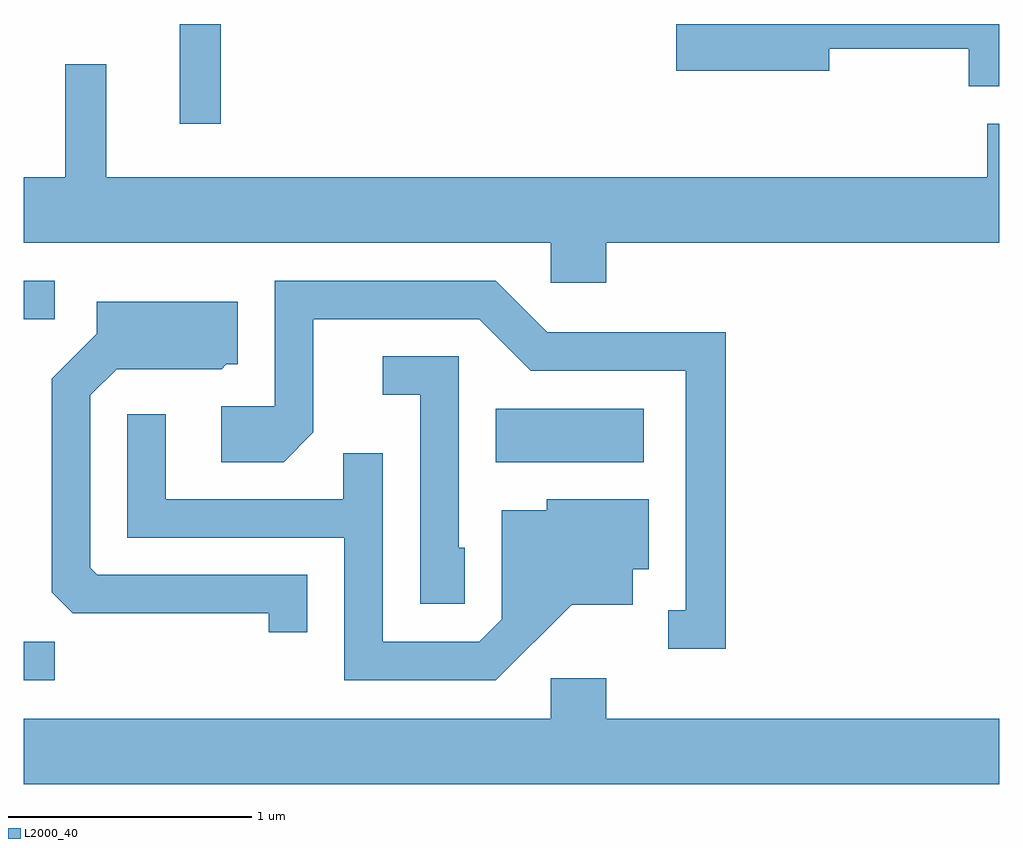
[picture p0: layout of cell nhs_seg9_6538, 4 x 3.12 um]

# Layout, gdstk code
import gdstk
lib = gdstk.Library(unit=1e-6, precision=1e-09)
def R(c, l, rs):  # rectangles x0, y0, x1, y1
    for r in rs: c.add(gdstk.rectangle(r[:2], r[2:], *l))
def P(c, l, *ps):  # polygons
    for p in ps: c.add(gdstk.Polygon(p, *l))
L2000_40 = (2000, 40)

nhs_seg9_6538 = lib.new_cell('nhs_seg9_6538')
R(nhs_seg9_6538, L2000_40, [(377.611,2047.741,377.738,2047.899), (379.546,2048.636,380.154,2048.854), (377.611,2049.221,377.738,2049.379), (378.251,2050.023,378.419,2050.432)])
P(nhs_seg9_6538, L2000_40, [(381.611,2050.432),(380.286,2050.432),(380.286,2050.241),(380.914,2050.241),(380.914,2050.331),(381.486,2050.331),(381.486,2050.176),(381.611,2050.176)],
  [(379.999,2049.536),(381.611,2049.536),(381.611,2050.024),(381.561,2050.024),(381.561,2049.804),(377.949,2049.804),(377.949,2050.268),(377.781,2050.268),(377.781,2049.804),(377.611,2049.804),(377.611,2049.536),(379.771,2049.536),(379.771,2049.371),(379.999,2049.371)],
  [(380.489,2049.169),(379.757,2049.169),(379.547,2049.379),(378.641,2049.379),(378.641,2048.864),(378.421,2048.864),(378.421,2048.636),(378.677,2048.636),(378.799,2048.759),(378.799,2049.221),(379.479,2049.221),(379.689,2049.011),(380.326,2049.011),(380.326,2048.029),(380.253,2048.029),(380.253,2047.871),(380.489,2047.871)],
  [(378.774,2048.174),(377.912,2048.174),(377.884,2048.202),(377.884,2048.909),(377.992,2049.016),(378.422,2049.016),(378.442,2049.036),(378.489,2049.036),(378.489,2049.294),(377.911,2049.294),(377.911,2049.162),(377.726,2048.977),(377.726,2048.102),(377.812,2048.016),(378.616,2048.016),(378.616,2047.938),(378.774,2047.938)],
  [(379.419,2048.284),(379.394,2048.284),(379.394,2049.069),(379.083,2049.069),(379.083,2048.911),(379.236,2048.911),(379.236,2048.056),(379.419,2048.056)],
  [(379.857,2048.051),(380.109,2048.051),(380.109,2048.196),(380.174,2048.196),(380.174,2048.484),(379.756,2048.484),(379.756,2048.439),(379.571,2048.439),(379.571,2047.992),(379.479,2047.899),(379.084,2047.899),(379.084,2048.673),(378.921,2048.673),(378.921,2048.484),(378.194,2048.484),(378.194,2048.833),(378.036,2048.833),(378.036,2048.326),(378.926,2048.326),(378.926,2047.741),(379.547,2047.741)],
  [(381.611,2047.584),(379.999,2047.584),(379.999,2047.749),(379.771,2047.749),(379.771,2047.584),(377.611,2047.584),(377.611,2047.316),(381.611,2047.316)])

lib.write_gds('nhs_seg9_6538.gds')
